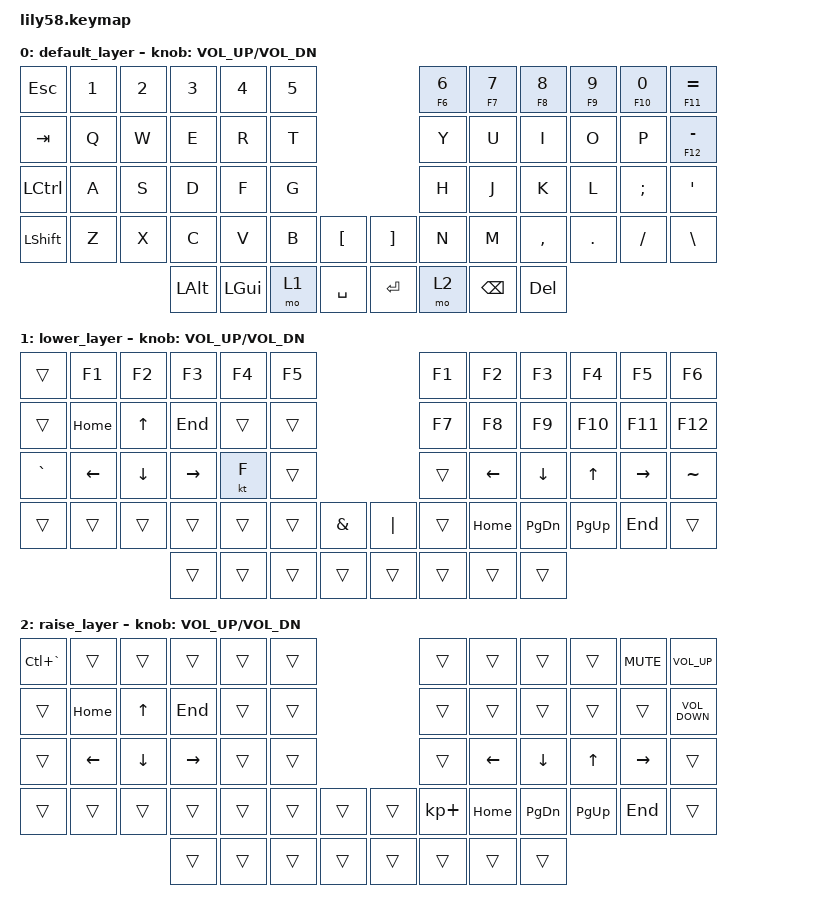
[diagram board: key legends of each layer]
/*
 * Copyright (c) 2020 The ZMK Contributors
 *
 * SPDX-License-Identifier: MIT
 */

#include <behaviors.dtsi>
#include <dt-bindings/zmk/keys.h>
#include <dt-bindings/zmk/keys.h>

&mt {
    tapping-term-ms = <300>;
    flavor = "tap-preferred";
};

/ {
    keymap {
        compatible = "zmk,keymap";

        default_layer {
            // ------------------------------------------------------------------------------------------------------------
            // |  ESC  |  1  |  2  |  3   |  4   |  5   |                   |  6   |  7    |  8    |  9   |   0   |   =   |
            // |  TAB  |  Q  |  W  |  E   |  R   |  T   |                   |  Y   |  U    |  I    |  O   |   P   |   -   |
            // |  CTRL |  A  |  S  |  D   |  F   |  G   |                   |  H   |  J    |  K    |  L   |   ;   |   '   |
            // | SHIFT |  Z  |  X  |  C   |  V   |  B   |   "["  |  |  "]"  |  N   |  M    |  ,    |  .   |   /   |   \   |
            //                     | ALT  | GUI  | LOWER|  SPACE |  | ENTER | RAISE| BSPC  |  CTRL |

            bindings = <
&kp ESC    &kp NUMBER_1  &kp NUMBER_2  &kp NUMBER_3  &kp NUMBER_4  &kp NUMBER_5                         &mt F6 NUMBER_6  &mt F7 N7  &mt F8 N8  &mt F9 N9  &mt F10 N0  &mt F11 EQUAL
&kp TAB    &kp Q         &kp W         &kp E         &kp R         &kp T                                &kp Y            &kp U      &kp I      &kp O      &kp P       &mt F12 MINUS
&kp LCTRL  &kp A         &kp S         &kp D         &kp F         &kp G                                &kp H            &kp J      &kp K      &kp L      &kp SEMI    &kp SQT
&kp LSHFT  &kp Z         &kp X         &kp C         &kp V         &kp B         &kp LBKT     &kp RBKT  &kp N            &kp M      &kp COMMA  &kp DOT    &kp FSLH    &kp BSLH
                                       &kp LALT      &kp LGUI      &mo 1         &kp SPACE    &kp RET   &mo 2            &kp BSPC   &kp DEL
            >;

            sensor-bindings = <&inc_dec_kp C_VOL_UP C_VOL_DN>;
        };

        lower_layer {
            // ------------------------------------------------------------------------------------------------------------
            // | BTCLR | BT1 | BT2 |  BT3 |  BT4 |  BT5 |                   |  V0  | V-    | V+    |      |       |  PGUP |
            // |       | HOME|  ^  |  END |      |      |                   |      |       |       |      |       |  PGDWN|
            // |   `   |  <- |  v  |  ->  |  $   |  %   |                   |  ^   |  &    |  *    |  (   |   )   |   ~   |
            // |       |     |     |      |      |      |    &   |  |  "|"  |      |  _    |  +    |  {   |   }   |  "|"  |
            //                     |      |      |      |        |  |       |      |  DEL  |       |

            bindings = <
&trans     &kp F1    &kp F2    &kp F3     &kp F4  &kp F5                        &kp F1  &kp F2    &kp F3     &kp F4     &kp F5     &kp F6
&trans     &kp HOME  &kp UP    &kp END    &trans  &trans                        &kp F7  &kp F8    &kp F9     &kp F10    &kp F11    &kp F12
&kp GRAVE  &kp LEFT  &kp DOWN  &kp RIGHT  &kt F   &trans                        &trans  &kp LEFT  &kp DOWN   &kp UP     &kp RIGHT  &kp TILDE
&trans     &trans    &trans    &trans     &trans  &trans  &kp AMPS    &kp PIPE  &trans  &kp HOME  &kp PG_DN  &kp PG_UP  &kp END    &trans
                               &trans     &trans  &trans  &trans      &trans    &trans  &trans    &trans
            >;

            sensor-bindings = <&inc_dec_kp C_VOL_UP C_VOL_DN>;
        };

        raise_layer {
            // ------------------------------------------------------------------------------------------------------------
            // |       |  F1 | F2  |   F3 |  F4  |  F5  |                   |  F6  |   F7  |   F8  | F9   | F10   |  F11  |
            // |       | HOME|  ^  |  END |      |      |                   |      |       |       |      |       |  F12  |
            // |       |  <- |  v  |  ->  |      |      |                   |      |   <-  |   v   |  ^   |  ->   |       |
            // |       |     |     |      |      |      |        |  |       |  +   |   -   |   =   |  [   |   ]   |   \   |
            //                     |      |      |      |        |  |       |      |   DEL |       |

            bindings = <
&kp LC(GRAVE)  &trans    &trans    &trans     &trans  &trans                    &trans       &trans    &trans     &trans     &kp C_MUTE  &kp C_VOLUME_UP
&trans         &kp HOME  &kp UP    &kp END    &trans  &trans                    &trans       &trans    &trans     &trans     &trans      &kp C_VOLUME_DOWN
&trans         &kp LEFT  &kp DOWN  &kp RIGHT  &trans  &trans                    &trans       &kp LEFT  &kp DOWN   &kp UP     &kp RIGHT   &trans
&trans         &trans    &trans    &trans     &trans  &trans  &trans    &trans  &kp KP_PLUS  &kp HOME  &kp PG_DN  &kp PG_UP  &kp END     &trans
                                   &trans     &trans  &trans  &trans    &trans  &trans       &trans    &trans
            >;

            sensor-bindings = <&inc_dec_kp C_VOL_UP C_VOL_DN>;
        };
    };
};
